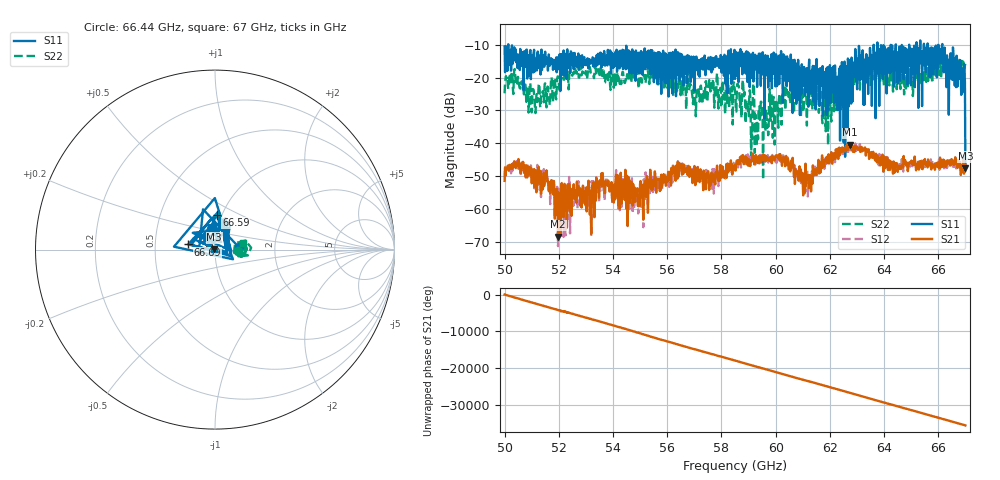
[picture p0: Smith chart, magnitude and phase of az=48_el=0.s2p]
!Created with skrf (http://scikit-rf.org).
# GHz S RI R 50.0
!freq ReS11 ImS11 ReS21 ImS21 ReS12 ImS12 ReS22 ImS22
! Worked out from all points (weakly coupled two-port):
!   1001 points, 50 GHz to 67 GHz, reference 50 ohm
!   highest |S21| = -40.50 dB at 62.75 GHz (marker M1); lowest = -68.5 dB at 51.97 GHz (marker M2)
!   lowest |S11| = -47.7 dB at 67 GHz (marker M3), VSWR 1.01, Z = 49.6 + j0.132 ohm
!   |S11| at or under -10 dB: 50.14 GHz to 63.75 GHz (13.61 GHz wide, 23.9 % of centre); 64.43 GHz to 65.19 GHz (761.6 MHz wide, 1.18 % of centre); 66.15 GHz to end of sweep (the widest 3 of 9)
!   |S22| runs from -51.1 to -13.9 dB; largest |S21 - S12| = 0.0022
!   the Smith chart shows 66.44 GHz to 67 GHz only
!   S11 on the Smith chart (normalised r, x): 66.44 GHz: 1.30, +0.04; 66.59 GHz: 0.94, +0.38; 66.69 GHz: 0.74, +0.04; 67 GHz: 0.99, +0.00
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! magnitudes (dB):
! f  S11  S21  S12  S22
! 50 GHz  -10.5  -51.5  -50.1  -24.8
! 51.51 GHz  -15.8  -49.6  -49.6  -23.2
! 51.97 GHz  -16.7  -68.5  -71.4  -19.7
! 52.84 GHz  -14.7  -59.6  -57.6  -19.3
! 53.23 GHz  -15.8  -52.9  -54.3  -19.2
! 53.59 GHz  -12.8  -53.1  -53.7  -18.6
! 54.86 GHz  -12.9  -55.8  -54.2  -19.1
! 55.68 GHz  -14.0  -50.9  -53.1  -22.1
! 58.5 GHz  -20.4  -47.3  -48.8  -24.3
! 59.62 GHz  -13.2  -45.6  -44.8  -36.4
! 60.34 GHz  -13.5  -45.2  -44.4  -24.9
! 61.34 GHz  -24.8  -50.5  -48.6  -26.8
! 61.98 GHz  -18.8  -43.9  -44.8  -22.5
! 62.56 GHz  -44.1  -42.5  -42.6  -20.2
! 62.75 GHz  -22.5  -40.5  -41.1  -19.4
! 64.18 GHz  -18.4  -45.2  -46.4  -18.7
! 66.08 GHz  -15.5  -47.4  -45.3  -15.5
! 66.44 GHz  -17.6  -46.8  -45.9  -17.9
! 66.59 GHz  -14.3  -45.6  -46.5  -16.2
! 66.69 GHz  -16.3  -45.6  -45.4  -15.7
! 66.9 GHz  -17.2  -48.8  -48.1  -15.1
! 67 GHz  -47.7  -46.5  -46.9  -15.8
